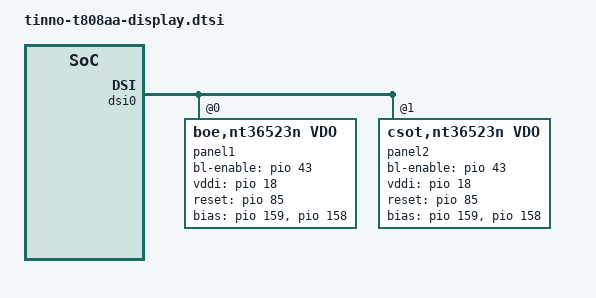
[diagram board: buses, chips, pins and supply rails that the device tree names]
&mtk_leds {
	compatible = "mediatek,disp-leds";
	backlight {
		led_mode = <4>;
		trans-bits = <11>;
		max-brightness = <255>;
		max-hw-brightness = <2047>;
	};
};

&dsi0 {
	status = "okay";
	#address-cells = <1>;
	#size-cells = <0>;
	panel1@0 {
		compatible = "boe,nt36523n,vdo";
		reg = <0>;
		bl-enable-gpios = <&pio 43 0>;
		vddi-gpios = <&pio 18 0>;
		reset-gpios = <&pio 85 0>;
		bias-gpios = <&pio 159 0>,
		<&pio 158 0>;
		pinctrl-names = "default";
	};
	panel2@0 {
		compatible = "csot,nt36523n,vdo";
		reg = <1>;
		bl-enable-gpios = <&pio 43 0>;
		vddi-gpios = <&pio 18 0>;
		reset-gpios = <&pio 85 0>;
		bias-gpios = <&pio 159 0>,
		<&pio 158 0>;
		pinctrl-names = "default";
	};
};

